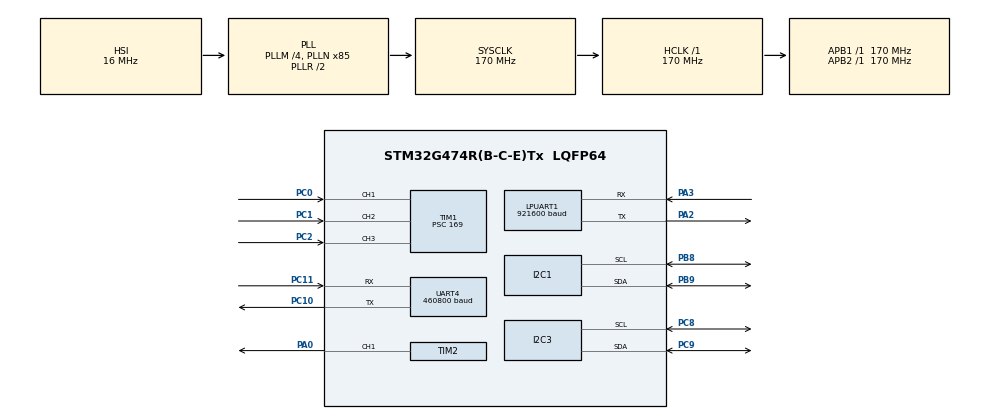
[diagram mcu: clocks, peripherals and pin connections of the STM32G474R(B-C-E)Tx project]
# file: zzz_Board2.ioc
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Dma.Request0=TIM1_CH1
Dma.Request1=TIM1_CH2
Dma.Request2=TIM1_CH3
Dma.Request3=UART4_TX
Dma.Request4=UART4_RX
Dma.TIM1_CH1.0.Direction=DMA_PERIPH_TO_MEMORY
Dma.TIM1_CH1.0.EventEnable=DISABLE
Dma.TIM1_CH1.0.Instance=DMA1_Channel1
Dma.TIM1_CH1.0.MemDataAlignment=DMA_MDATAALIGN_HALFWORD
Dma.TIM1_CH1.0.MemInc=DMA_MINC_ENABLE
Dma.TIM1_CH1.0.Mode=DMA_CIRCULAR
Dma.TIM1_CH1.0.PeriphDataAlignment=DMA_PDATAALIGN_HALFWORD
Dma.TIM1_CH1.0.PeriphInc=DMA_PINC_DISABLE
Dma.TIM1_CH1.0.Polarity=HAL_DMAMUX_REQ_GEN_RISING
Dma.TIM1_CH1.0.Priority=DMA_PRIORITY_LOW
Dma.TIM1_CH1.0.RequestNumber=1
Dma.TIM1_CH1.0.SignalID=NONE
Dma.TIM1_CH1.0.SyncEnable=DISABLE
Dma.TIM1_CH1.0.SyncPolarity=HAL_DMAMUX_SYNC_NO_EVENT
Dma.TIM1_CH1.0.SyncRequestNumber=1
Dma.TIM1_CH1.0.SyncSignalID=NONE
Dma.TIM1_CH2.1.Direction=DMA_PERIPH_TO_MEMORY
Dma.TIM1_CH2.1.EventEnable=DISABLE
Dma.TIM1_CH2.1.Instance=DMA1_Channel2
Dma.TIM1_CH2.1.MemDataAlignment=DMA_MDATAALIGN_HALFWORD
Dma.TIM1_CH2.1.MemInc=DMA_MINC_ENABLE
Dma.TIM1_CH2.1.Mode=DMA_CIRCULAR
Dma.TIM1_CH2.1.PeriphDataAlignment=DMA_PDATAALIGN_HALFWORD
Dma.TIM1_CH2.1.PeriphInc=DMA_PINC_DISABLE
Dma.TIM1_CH2.1.Polarity=HAL_DMAMUX_REQ_GEN_RISING
Dma.TIM1_CH2.1.Priority=DMA_PRIORITY_LOW
Dma.TIM1_CH2.1.RequestNumber=1
Dma.TIM1_CH2.1.SignalID=NONE
Dma.TIM1_CH2.1.SyncEnable=DISABLE
Dma.TIM1_CH2.1.SyncPolarity=HAL_DMAMUX_SYNC_NO_EVENT
Dma.TIM1_CH2.1.SyncRequestNumber=1
Dma.TIM1_CH2.1.SyncSignalID=NONE
Dma.TIM1_CH3.2.Direction=DMA_PERIPH_TO_MEMORY
Dma.TIM1_CH3.2.EventEnable=DISABLE
Dma.TIM1_CH3.2.Instance=DMA1_Channel3
Dma.TIM1_CH3.2.MemDataAlignment=DMA_MDATAALIGN_HALFWORD
Dma.TIM1_CH3.2.MemInc=DMA_MINC_ENABLE
Dma.TIM1_CH3.2.Mode=DMA_CIRCULAR
Dma.TIM1_CH3.2.PeriphDataAlignment=DMA_PDATAALIGN_HALFWORD
Dma.TIM1_CH3.2.PeriphInc=DMA_PINC_DISABLE
Dma.TIM1_CH3.2.Polarity=HAL_DMAMUX_REQ_GEN_RISING
Dma.TIM1_CH3.2.Priority=DMA_PRIORITY_LOW
Dma.TIM1_CH3.2.RequestNumber=1
Dma.TIM1_CH3.2.SignalID=NONE
Dma.TIM1_CH3.2.SyncEnable=DISABLE
Dma.TIM1_CH3.2.SyncPolarity=HAL_DMAMUX_SYNC_NO_EVENT
Dma.TIM1_CH3.2.SyncRequestNumber=1
Dma.TIM1_CH3.2.SyncSignalID=NONE
Dma.UART4_RX.4.Direction=DMA_PERIPH_TO_MEMORY
Dma.UART4_RX.4.EventEnable=DISABLE
Dma.UART4_RX.4.Instance=DMA1_Channel5
Dma.UART4_RX.4.MemDataAlignment=DMA_MDATAALIGN_BYTE
Dma.UART4_RX.4.MemInc=DMA_MINC_ENABLE
Dma.UART4_RX.4.Mode=DMA_CIRCULAR
Dma.UART4_RX.4.PeriphDataAlignment=DMA_PDATAALIGN_BYTE
Dma.UART4_RX.4.PeriphInc=DMA_PINC_DISABLE
Dma.UART4_RX.4.Polarity=HAL_DMAMUX_REQ_GEN_RISING
Dma.UART4_RX.4.Priority=DMA_PRIORITY_LOW
Dma.UART4_RX.4.RequestNumber=1
Dma.UART4_RX.4.SignalID=NONE
Dma.UART4_RX.4.SyncEnable=DISABLE
Dma.UART4_RX.4.SyncPolarity=HAL_DMAMUX_SYNC_NO_EVENT
Dma.UART4_RX.4.SyncRequestNumber=1
Dma.UART4_RX.4.SyncSignalID=NONE
Dma.UART4_TX.3.Direction=DMA_MEMORY_TO_PERIPH
Dma.UART4_TX.3.EventEnable=DISABLE
Dma.UART4_TX.3.Instance=DMA1_Channel4
Dma.UART4_TX.3.MemDataAlignment=DMA_MDATAALIGN_BYTE
Dma.UART4_TX.3.MemInc=DMA_MINC_ENABLE
Dma.UART4_TX.3.Mode=DMA_NORMAL
Dma.UART4_TX.3.PeriphDataAlignment=DMA_PDATAALIGN_BYTE
Dma.UART4_TX.3.PeriphInc=DMA_PINC_DISABLE
Dma.UART4_TX.3.Polarity=HAL_DMAMUX_REQ_GEN_RISING
Dma.UART4_TX.3.Priority=DMA_PRIORITY_LOW
Dma.UART4_TX.3.RequestNumber=1
Dma.UART4_TX.3.SignalID=NONE
Dma.UART4_TX.3.SyncEnable=DISABLE
Dma.UART4_TX.3.SyncPolarity=HAL_DMAMUX_SYNC_NO_EVENT
Dma.UART4_TX.3.SyncRequestNumber=1
Dma.UART4_TX.3.SyncSignalID=NONE
FREERTOS.Mutexes01=mutex_Ble,Static,mutex_BleControlBlock,Available;mutex_Imu,Static,mutex_ImuControlBlock,Available;mutex_UartRx,Static,mutex_UartRxControlBlock,Available;mutex_Sonar,Static,mutex_SonarControlBlock,Available;mutex_Supervisor,Static,mutex_SupervisorControlBlock,Available
FREERTOS.Tasks01=defaultTask,24,128,StartDefaultTask,Default,NULL,Static,defaultTaskBuffer,defaultTaskControlBlock;Task_ReadBLE,24,256,StartTask_ReadBLE,Default,NULL,Static,Task_ReadBLEBuffer,Task_ReadBLEControlBlock;Task_ReadIMU,8,128,StartTask_ReadIMU,Default,NULL,Static,Task_ReadIMUBuffer,Task_ReadIMUControlBlock;Task_ReadSonars,32,256,StartTask_ReadSonars,Default,NULL,Static,Task_ReadSonarsBuffer,Task_ReadSonarsControlBlock;Task_Rx,24,256,StartTask_Rx,Default,NULL,Static,Task_RxBuffer,Task_RxControlBlock;Task_Tx,32,256,StartTask_Tx,Default,NULL,Static,Task_TxBuffer,Task_TxControlBlock;Task_Supervisor,32,512,StartTask_Supervisor,Default,NULL,Static,Task_SupervisorBuffer,Task_SupervisorControlBlock;Task_Log,8,512,StartTask_Log,Default,NULL,Static,Task_LogBuffer,Task_LogControlBlock
FREERTOS.configCHECK_FOR_STACK_OVERFLOW=2
FREERTOS.configTOTAL_HEAP_SIZE=1500
FREERTOS.configUSE_NEWLIB_REENTRANT=1
I2C1.CustomTiming=Enabled
I2C1.Speed=100
I2C1.Timing=0x40B285C2
I2C3.Timing=0x40B285C2
LPUART1.BaudRate=921600
Mcu.Family=STM32G4
Mcu.Name=STM32G474R(B-C-E)Tx
Mcu.Package=LQFP64
NVIC.DMA1_Channel1_IRQn=true\:5\:0\:false\:false\:true\:true\:false\:true\:true
NVIC.DMA1_Channel2_IRQn=true\:5\:0\:false\:false\:true\:true\:false\:true\:true
NVIC.DMA1_Channel3_IRQn=true\:5\:0\:false\:false\:true\:true\:false\:true\:true
NVIC.DMA1_Channel4_IRQn=true\:5\:0\:false\:false\:true\:true\:false\:true\:true
NVIC.DMA1_Channel5_IRQn=true\:5\:0\:false\:false\:true\:true\:false\:true\:true
NVIC.PriorityGroup=NVIC_PRIORITYGROUP_4
NVIC.TIM6_DAC_IRQn=true\:15\:0\:false\:false\:true\:false\:false\:true\:true
NVIC.TimeBase=TIM6_DAC_IRQn
NVIC.TimeBaseIP=TIM6
NVIC.UART4_IRQn=true\:5\:0\:false\:false\:true\:true\:true\:true\:true
PA0.Signal=S_TIM2_CH1
PA2.Mode=Asynchronous
PA2.Signal=LPUART1_TX
PA3.Mode=Asynchronous
PA3.Signal=LPUART1_RX
PB8-BOOT0.GPIO_Pu=GPIO_PULLUP
PB8-BOOT0.Mode=I2C
PB8-BOOT0.Signal=I2C1_SCL
PB9.GPIO_Pu=GPIO_PULLUP
PB9.Mode=I2C
PB9.Signal=I2C1_SDA
PC0.Signal=S_TIM1_CH1
PC1.Signal=S_TIM1_CH2
PC10.Mode=Asynchronous
PC10.Signal=UART4_TX
PC11.Mode=Asynchronous
PC11.Signal=UART4_RX
PC2.Signal=S_TIM1_CH3
PC8.GPIO_Pu=GPIO_PULLUP
PC8.Mode=I2C
PC8.Signal=I2C3_SCL
PC9.GPIO_Pu=GPIO_PULLUP
PC9.Mode=I2C
PC9.Signal=I2C3_SDA
ProjectManager.HeapSize=0x200
ProjectManager.StackSize=0x400
ProjectManager.TargetToolchain=STM32CubeIDE
RCC.ADC12Freq_Value=170000000
RCC.ADC345Freq_Value=170000000
RCC.AHBFreq_Value=170000000
RCC.APB1Freq_Value=170000000
RCC.APB1TimFreq_Value=170000000
RCC.APB2Freq_Value=170000000
RCC.APB2TimFreq_Value=170000000
RCC.CortexFreq_Value=170000000
RCC.EXTERNAL_CLOCK_VALUE=12288000
RCC.HCLKFreq_Value=170000000
RCC.HSE_VALUE=8000000
RCC.HSI48_VALUE=48000000
RCC.HSI_VALUE=16000000
RCC.LSE_VALUE=32768
RCC.PLLM=RCC_PLLM_DIV4
RCC.PLLN=85
RCC.SYSCLKFreq_VALUE=170000000
RCC.SYSCLKSource=RCC_SYSCLKSOURCE_PLLCLK
RCC.USBFreq_Value=170000000
RCC.VCOOutputFreq_Value=340000000
SH.S_TIM1_CH1.0=TIM1_CH1,Input_Capture1_from_TI1
SH.S_TIM1_CH2.0=TIM1_CH2,Input_Capture2_from_TI2
SH.S_TIM1_CH3.0=TIM1_CH3,Input_Capture3_from_TI3
SH.S_TIM2_CH1.0=TIM2_CH1,PWM Generation1 CH1
TIM1.Channel-Input_Capture1_from_TI1=TIM_CHANNEL_1
TIM1.Channel-Input_Capture2_from_TI2=TIM_CHANNEL_2
TIM1.Channel-Input_Capture3_from_TI3=TIM_CHANNEL_3
TIM1.ICFilter_CH1=10
TIM1.ICFilter_CH2=10
TIM1.ICFilter_CH3=10
TIM1.ICPolarity_CH1=TIM_INPUTCHANNELPOLARITY_BOTHEDGE
TIM1.ICPolarity_CH2=TIM_INPUTCHANNELPOLARITY_BOTHEDGE
TIM1.ICPolarity_CH3=TIM_INPUTCHANNELPOLARITY_BOTHEDGE
TIM1.Prescaler=169
TIM2.Channel-PWM\ Generation1\ CH1=TIM_CHANNEL_1
TIM2.OCPolarity_1=TIM_OCPOLARITY_LOW
TIM2.PeriodNoDither=19
TIM2.Prescaler=169
TIM2.PulseNoDither_1=10
UART4.BaudRate=460800
VP_FREERTOS_VS_CMSIS_V2.Mode=CMSIS_V2
VP_SYS_VS_DBSignals.Mode=DisableDeadBatterySignals
VP_SYS_VS_tim6.Mode=TIM6
VP_TIM2_VS_OPM.Mode=OPM_bit
board=custom

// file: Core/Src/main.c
/* USER CODE BEGIN Header */
/**
  ******************************************************************************
  * @file           : main.c
  * @brief          : Main program body
  ******************************************************************************
  * @attention
  *
  * Copyright (c) 2026 STMicroelectronics.
  * All rights reserved.
  *
  * This software is licensed under terms that can be found in the LICENSE file
  * in the root directory of this software component.
  * If no LICENSE file comes with this software, it is provided AS-IS.
  *
  ******************************************************************************
  */
/* USER CODE END Header */
#include "main.h"
#include "cmsis_os.h"
#include "dma.h"
#include "i2c.h"
#include "usart.h"
#include "tim.h"
#include "gpio.h"

/* USER CODE BEGIN Includes */
#include "comm/comm_uart.h"
/* USER CODE END Includes */

void SystemClock_Config(void);
void MX_FREERTOS_Init(void);
/* USER CODE BEGIN PFP */
#include "core_cm4.h"
  void DWT_Init(void)
  {
      CoreDebug->DEMCR |= CoreDebug_DEMCR_TRCENA_Msk;
      DWT->CYCCNT = 0;
      DWT->CTRL |= DWT_CTRL_CYCCNTENA_Msk;
  }
/* USER CODE END PFP */

int main(void)
{

  /* MCU Configuration--------------------------------------------------------*/

  /* Reset of all peripherals, Initializes the Flash interface and the Systick. */
  HAL_Init();

  /* Configure the system clock */
  SystemClock_Config();

  /* Initialize all configured peripherals */
  MX_GPIO_Init();
  MX_DMA_Init();
  MX_TIM1_Init();
  MX_TIM2_Init();
  MX_I2C1_Init();
  MX_LPUART1_UART_Init();
  MX_UART4_Init();
  MX_I2C3_Init();
  /* USER CODE BEGIN 2 */
  DWT_Init();
  CommUart_EarlyInit();  // aggiunto

  /* USER CODE END 2 */

  /* Init scheduler */
  osKernelInitialize();  /* Call init function for freertos objects (in cmsis_os2.c) */
  MX_FREERTOS_Init();

  /* Start scheduler */
  osKernelStart();

  /* We should never get here as control is now taken by the scheduler */

  /* Infinite loop */
  while (1)
  {

  }
}

void SystemClock_Config(void)
{
  RCC_OscInitTypeDef RCC_OscInitStruct = {0};
  RCC_ClkInitTypeDef RCC_ClkInitStruct = {0};

  /** Configure the main internal regulator output voltage
  */
  HAL_PWREx_ControlVoltageScaling(PWR_REGULATOR_VOLTAGE_SCALE1_BOOST);

  /** Initializes the RCC Oscillators according to the specified parameters
  * in the RCC_OscInitTypeDef structure.
  */
  RCC_OscInitStruct.OscillatorType = RCC_OSCILLATORTYPE_HSI;
  RCC_OscInitStruct.HSIState = RCC_HSI_ON;
  RCC_OscInitStruct.HSICalibrationValue = RCC_HSICALIBRATION_DEFAULT;
  RCC_OscInitStruct.PLL.PLLState = RCC_PLL_ON;
  RCC_OscInitStruct.PLL.PLLSource = RCC_PLLSOURCE_HSI;
  RCC_OscInitStruct.PLL.PLLM = RCC_PLLM_DIV4;
  RCC_OscInitStruct.PLL.PLLN = 85;
  RCC_OscInitStruct.PLL.PLLP = RCC_PLLP_DIV2;
  RCC_OscInitStruct.PLL.PLLQ = RCC_PLLQ_DIV2;
  RCC_OscInitStruct.PLL.PLLR = RCC_PLLR_DIV2;
  if (HAL_RCC_OscConfig(&RCC_OscInitStruct) != HAL_OK)
  {
    Error_Handler();
  }

  /** Initializes the CPU, AHB and APB buses clocks
  */
  RCC_ClkInitStruct.ClockType = RCC_CLOCKTYPE_HCLK|RCC_CLOCKTYPE_SYSCLK
                              |RCC_CLOCKTYPE_PCLK1|RCC_CLOCKTYPE_PCLK2;
  RCC_ClkInitStruct.SYSCLKSource = RCC_SYSCLKSOURCE_PLLCLK;
  RCC_ClkInitStruct.AHBCLKDivider = RCC_SYSCLK_DIV1;
  RCC_ClkInitStruct.APB1CLKDivider = RCC_HCLK_DIV1;
  RCC_ClkInitStruct.APB2CLKDivider = RCC_HCLK_DIV1;

  if (HAL_RCC_ClockConfig(&RCC_ClkInitStruct, FLASH_LATENCY_4) != HAL_OK)
  {
    Error_Handler();
  }
}

void HAL_TIM_PeriodElapsedCallback(TIM_HandleTypeDef *htim)
{
  if (htim->Instance == TIM6)
  {
    HAL_IncTick();
  }
}

void Error_Handler(void)
{
  __disable_irq();
  while (1)
  {
  }
}

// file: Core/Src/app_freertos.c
/* USER CODE BEGIN Header */
/**
  ******************************************************************************
  * File Name          : app_freertos.c
  * Description        : Code for freertos applications
  ******************************************************************************
  * @attention
  *
  * Copyright (c) 2026 STMicroelectronics.
  * All rights reserved.
  *
  * This software is licensed under terms that can be found in the LICENSE file
  * in the root directory of this software component.
  * If no LICENSE file comes with this software, it is provided AS-IS.
  *
  ******************************************************************************
  */
/* USER CODE END Header */

#include "FreeRTOS.h"
#include "task.h"
#include "main.h"
#include "cmsis_os.h"

/* USER CODE BEGIN Includes */
#include "BLE_Controller/ble_controller_task.h"
#include "comm/comm_rx_task.h"
#include "comm/comm_tx_task.h"
#include "IMU/imu_task.h"
#include "sonar/sonar_task.h"
#include "log/log_task.h"
#include "supervisor/supervisor_task.h"
#include "log/wcet_monitor.h"
#include "snapshot/snapshot.h"
#include <stdio.h>
/* USER CODE END Includes */

typedef StaticTask_t osStaticThreadDef_t;
typedef StaticSemaphore_t osStaticMutexDef_t;

/* USER CODE BEGIN Variables */
UBaseType_t free_words_tx = 0;
UBaseType_t free_words_rx = 0;
UBaseType_t free_words_sonar = 0;
UBaseType_t free_words_ble = 0;
UBaseType_t free_words_imu = 0;

volatile uint32_t wcet_tx_cycles_max = 0;
volatile uint32_t wcet_rx_cycles_max = 0;
volatile uint32_t wcet_sonar_cycles_max = 0;
volatile uint32_t wcet_ble_cycles_max = 0;
volatile uint32_t wcet_imu_cycles_max = 0;

volatile uint32_t cycles_tx = 0;
volatile uint32_t cycles_rx = 0;
volatile uint32_t cycles_sonar = 0;
volatile uint32_t cycles_ble = 0;
volatile uint32_t cycles_imu = 0;
/* USER CODE END Variables */
/* Definitions for defaultTask */
osThreadId_t defaultTaskHandle;
uint32_t defaultTaskBuffer[ 128 ];
osStaticThreadDef_t defaultTaskControlBlock;
const osThreadAttr_t defaultTask_attributes = {
  .name = "defaultTask",
  .stack_mem = &defaultTaskBuffer[0],
  .stack_size = sizeof(defaultTaskBuffer),
  .cb_mem = &defaultTaskControlBlock,
  .cb_size = sizeof(defaultTaskControlBlock),
  .priority = (osPriority_t) osPriorityNormal,
};
/* Definitions for Task_ReadBLE */
osThreadId_t Task_ReadBLEHandle;
uint32_t Task_ReadBLEBuffer[ 256 ];
osStaticThreadDef_t Task_ReadBLEControlBlock;
const osThreadAttr_t Task_ReadBLE_attributes = {
  .name = "Task_ReadBLE",
  .stack_mem = &Task_ReadBLEBuffer[0],
  .stack_size = sizeof(Task_ReadBLEBuffer),
  .cb_mem = &Task_ReadBLEControlBlock,
  .cb_size = sizeof(Task_ReadBLEControlBlock),
  .priority = (osPriority_t) osPriorityNormal,
};
/* Definitions for Task_ReadIMU */
osThreadId_t Task_ReadIMUHandle;
uint32_t Task_ReadIMUBuffer[ 128 ];
osStaticThreadDef_t Task_ReadIMUControlBlock;
const osThreadAttr_t Task_ReadIMU_attributes = {
  .name = "Task_ReadIMU",
  .stack_mem = &Task_ReadIMUBuffer[0],
  .stack_size = sizeof(Task_ReadIMUBuffer),
  .cb_mem = &Task_ReadIMUControlBlock,
  .cb_size = sizeof(Task_ReadIMUControlBlock),
  .priority = (osPriority_t) osPriorityLow,
};
/* Definitions for Task_ReadSonars */
osThreadId_t Task_ReadSonarsHandle;
uint32_t Task_ReadSonarsBuffer[ 256 ];
osStaticThreadDef_t Task_ReadSonarsControlBlock;
const osThreadAttr_t Task_ReadSonars_attributes = {
  .name = "Task_ReadSonars",
  .stack_mem = &Task_ReadSonarsBuffer[0],
  .stack_size = sizeof(Task_ReadSonarsBuffer),
  .cb_mem = &Task_ReadSonarsControlBlock,
  .cb_size = sizeof(Task_ReadSonarsControlBlock),
  .priority = (osPriority_t) osPriorityAboveNormal,
};
/* Definitions for Task_Rx */
osThreadId_t Task_RxHandle;
uint32_t Task_RxBuffer[ 256 ];
osStaticThreadDef_t Task_RxControlBlock;
const osThreadAttr_t Task_Rx_attributes = {
  .name = "Task_Rx",
  .stack_mem = &Task_RxBuffer[0],
  .stack_size = sizeof(Task_RxBuffer),
  .cb_mem = &Task_RxControlBlock,
  .cb_size = sizeof(Task_RxControlBlock),
  .priority = (osPriority_t) osPriorityNormal,
};
/* Definitions for Task_Tx */
osThreadId_t Task_TxHandle;
uint32_t Task_TxBuffer[ 256 ];
osStaticThreadDef_t Task_TxControlBlock;
const osThreadAttr_t Task_Tx_attributes = {
  .name = "Task_Tx",
  .stack_mem = &Task_TxBuffer[0],
  .stack_size = sizeof(Task_TxBuffer),
  .cb_mem = &Task_TxControlBlock,
  .cb_size = sizeof(Task_TxControlBlock),
  .priority = (osPriority_t) osPriorityAboveNormal,
};
/* Definitions for Task_Supervisor */
osThreadId_t Task_SupervisorHandle;
uint32_t Task_SupervisorBuffer[ 512 ];
osStaticThreadDef_t Task_SupervisorControlBlock;
const osThreadAttr_t Task_Supervisor_attributes = {
  .name = "Task_Supervisor",
  .stack_mem = &Task_SupervisorBuffer[0],
  .stack_size = sizeof(Task_SupervisorBuffer),
  .cb_mem = &Task_SupervisorControlBlock,
  .cb_size = sizeof(Task_SupervisorControlBlock),
  .priority = (osPriority_t) osPriorityAboveNormal,
};
/* Definitions for Task_Log */
osThreadId_t Task_LogHandle;
uint32_t Task_LogBuffer[ 512 ];
osStaticThreadDef_t Task_LogControlBlock;
const osThreadAttr_t Task_Log_attributes = {
  .name = "Task_Log",
  .stack_mem = &Task_LogBuffer[0],
  .stack_size = sizeof(Task_LogBuffer),
  .cb_mem = &Task_LogControlBlock,
  .cb_size = sizeof(Task_LogControlBlock),
  .priority = (osPriority_t) osPriorityLow,
};
/* Definitions for mutex_Ble */
osMutexId_t mutex_BleHandle;
osStaticMutexDef_t mutex_BleControlBlock;
const osMutexAttr_t mutex_Ble_attributes = {
  .name = "mutex_Ble",
  .cb_mem = &mutex_BleControlBlock,
  .cb_size = sizeof(mutex_BleControlBlock),
};
/* Definitions for mutex_Imu */
osMutexId_t mutex_ImuHandle;
osStaticMutexDef_t mutex_ImuControlBlock;
const osMutexAttr_t mutex_Imu_attributes = {
  .name = "mutex_Imu",
  .cb_mem = &mutex_ImuControlBlock,
  .cb_size = sizeof(mutex_ImuControlBlock),
};
/* Definitions for mutex_UartRx */
osMutexId_t mutex_UartRxHandle;
osStaticMutexDef_t mutex_UartRxControlBlock;
const osMutexAttr_t mutex_UartRx_attributes = {
  .name = "mutex_UartRx",
  .cb_mem = &mutex_UartRxControlBlock,
  .cb_size = sizeof(mutex_UartRxControlBlock),
};
/* Definitions for mutex_Sonar */
osMutexId_t mutex_SonarHandle;
osStaticMutexDef_t mutex_SonarControlBlock;
const osMutexAttr_t mutex_Sonar_attributes = {
  .name = "mutex_Sonar",
  .cb_mem = &mutex_SonarControlBlock,
  .cb_size = sizeof(mutex_SonarControlBlock),
};
/* Definitions for mutex_Supervisor */
osMutexId_t mutex_SupervisorHandle;
osStaticMutexDef_t mutex_SupervisorControlBlock;
const osMutexAttr_t mutex_Supervisor_attributes = {
  .name = "mutex_Supervisor",
  .cb_mem = &mutex_SupervisorControlBlock,
  .cb_size = sizeof(mutex_SupervisorControlBlock),
};

void StartDefaultTask(void *argument);
void StartTask_ReadBLE(void *argument);
void StartTask_ReadIMU(void *argument);
void StartTask_ReadSonars(void *argument);
void StartTask_Rx(void *argument);
void StartTask_Tx(void *argument);
void StartTask_Supervisor(void *argument);
void StartTask_Log(void *argument);

void MX_FREERTOS_Init(void); /* (MISRA C 2004 rule 8.1) */

/* Hook prototypes */
void vApplicationStackOverflowHook(xTaskHandle xTask, signed char *pcTaskName);

/* USER CODE BEGIN 4 */
void vApplicationStackOverflowHook(xTaskHandle xTask, signed char *pcTaskName)
{
   /* Run time stack overflow checking is performed if
   configCHECK_FOR_STACK_OVERFLOW is defined to 1 or 2. This hook function is
   called if a stack overflow is detected. */
}
/* USER CODE END 4 */

void MX_FREERTOS_Init(void) {
  /* Create the mutex(es) */
  /* creation of mutex_Ble */
  mutex_BleHandle = osMutexNew(&mutex_Ble_attributes);

  /* creation of mutex_Imu */
  mutex_ImuHandle = osMutexNew(&mutex_Imu_attributes);

  /* creation of mutex_UartRx */
  mutex_UartRxHandle = osMutexNew(&mutex_UartRx_attributes);

  /* creation of mutex_Sonar */
  mutex_SonarHandle = osMutexNew(&mutex_Sonar_attributes);

  /* creation of mutex_Supervisor */
  mutex_SupervisorHandle = osMutexNew(&mutex_Supervisor_attributes);

  /* USER CODE BEGIN RTOS_MUTEX */
	BleControllerSnapshot_MutexInit(mutex_BleHandle);
	IMUSnapshot_MutexInit(mutex_ImuHandle);
	RxSnapshot_MutexInit(mutex_UartRxHandle);
	SonarSnapshot_MutexInit(mutex_SonarHandle);
	SupervisorSnapshot_MutexInit(mutex_SupervisorHandle);
  /* USER CODE END RTOS_MUTEX */

  /* Create the thread(s) */
  /* creation of defaultTask */
  defaultTaskHandle = osThreadNew(StartDefaultTask, NULL, &defaultTask_attributes);

  /* creation of Task_ReadBLE */
  Task_ReadBLEHandle = osThreadNew(StartTask_ReadBLE, NULL, &Task_ReadBLE_attributes);

  /* creation of Task_ReadIMU */
  Task_ReadIMUHandle = osThreadNew(StartTask_ReadIMU, NULL, &Task_ReadIMU_attributes);

  /* creation of Task_ReadSonars */
  Task_ReadSonarsHandle = osThreadNew(StartTask_ReadSonars, NULL, &Task_ReadSonars_attributes);

  /* creation of Task_Rx */
  Task_RxHandle = osThreadNew(StartTask_Rx, NULL, &Task_Rx_attributes);

  /* creation of Task_Tx */
  Task_TxHandle = osThreadNew(StartTask_Tx, NULL, &Task_Tx_attributes);

  /* creation of Task_Supervisor */
  Task_SupervisorHandle = osThreadNew(StartTask_Supervisor, NULL, &Task_Supervisor_attributes);

  /* creation of Task_Log */
  Task_LogHandle = osThreadNew(StartTask_Log, NULL, &Task_Log_attributes);

}

void StartDefaultTask(void *argument)
{
  /* USER CODE BEGIN StartDefaultTask */
  /* Infinite loop */
  for(;;)
  {
    osDelay(10000);
  }
  /* USER CODE END StartDefaultTask */
}

void StartTask_ReadBLE(void *argument)
{
  /* USER CODE BEGIN StartTask_ReadBLE */
    TickType_t lastWakeTime = xTaskGetTickCount();

    //BleController_TaskInit();

    for (;;)
    {

    	uint32_t s = DWT->CYCCNT;

        BleController_TaskStep();

        WCET_Update(WCET_TASK_BLE, DWT->CYCCNT - s);

	    free_words_ble = uxTaskGetStackHighWaterMark(NULL);

        lastWakeTime += 20;
        osDelayUntil(lastWakeTime);
    }
  /* USER CODE END StartTask_ReadBLE */
}

void StartTask_ReadIMU(void *argument)
{
  /* USER CODE BEGIN StartTask_ReadIMU */
    TickType_t lastWakeTime = xTaskGetTickCount();

    IMU_TaskInit();

    for (;;)
    {

    	uint32_t s = DWT->CYCCNT;

	    IMU_TaskStep();

	    WCET_Update(WCET_TASK_IMU, DWT->CYCCNT - s);

	    free_words_imu = uxTaskGetStackHighWaterMark(NULL);

        lastWakeTime += 20;
        osDelayUntil(lastWakeTime);
    }
  /* USER CODE END StartTask_ReadIMU */
}

void StartTask_ReadSonars(void *argument)
{
  /* USER CODE BEGIN StartTask_ReadSonars */
    TickType_t lastWakeTime = xTaskGetTickCount();
    Sonar_TaskInit();
    //Sonar_TaskInit();

    for (;;)
    {

        Sonar_TaskStep();

	    free_words_sonar = uxTaskGetStackHighWaterMark(NULL);

        lastWakeTime += 60;
        osDelayUntil(lastWakeTime);
    }
  /* USER CODE END StartTask_ReadSonars */
}

void StartTask_Rx(void *argument)
{
  /* USER CODE BEGIN StartTask_Rx */
	Rx_TaskInit();

  /* Infinite loop */
  for(;;)
  {

  	Rx_TaskStep();

  }
  /* USER CODE END StartTask_Rx */
}

void StartTask_Tx(void *argument)
{
  /* USER CODE BEGIN StartTask_Tx */
    TickType_t lastWakeTime = xTaskGetTickCount();

    for (;;)
    {

    	uint32_t s = DWT->CYCCNT;

        Tx_TaskStep();

        WCET_Update(WCET_TASK_TX, DWT->CYCCNT - s);
	    free_words_tx = uxTaskGetStackHighWaterMark(NULL);

        lastWakeTime += 20;
        osDelayUntil(lastWakeTime);
    }
  /* USER CODE END StartTask_Tx */
}

void StartTask_Supervisor(void *argument)
{
  /* USER CODE BEGIN StartTask_Supervisor */
	Supervisor_TaskInit();
	TickType_t lastWakeTime = osKernelGetTickCount();
	int i = 0;
  /* Infinite loop */
  for(;;)
  {
	  uint32_t s = DWT->CYCCNT;

	  Supervisor_TaskStep();
	  WCET_Update(WCET_TASK_SUPERVISOR, DWT->CYCCNT - s);

	  lastWakeTime += 20;
	  osDelayUntil(lastWakeTime);
  }
  /* USER CODE END StartTask_Supervisor */
}

void StartTask_Log(void *argument)
{
  /* USER CODE BEGIN StartTask_Log */
  /* Infinite loop */
    TickType_t lastWakeTime = xTaskGetTickCount();

    for (;;)
    {
    	Log_TaskStep();
    	WCET_Print();

    	/*
    	printf("Heap free : %lu\r\n",
    	       (unsigned long)xPortGetFreeHeapSize());

    	printf("Heap min  : %lu\r\n",
    	       (unsigned long)xPortGetMinimumEverFreeHeapSize());

    	HeapStats_t stats;
    	vPortGetHeapStats(&stats);

    	printf("Heap avail: %lu\r\n",
    	       (unsigned long)stats.xAvailableHeapSpaceInBytes);

    	printf("Heap min  : %lu\r\n",
    	       (unsigned long)stats.xMinimumEverFreeBytesRemaining);

    	printf("Malloc ok : %lu\r\n",
    	       (unsigned long)stats.xNumberOfSuccessfulAllocations);

    	printf("Free ok   : %lu\r\n",
    	       (unsigned long)stats.xNumberOfSuccessfulFrees);
    	*/
        lastWakeTime += 1000;
        osDelayUntil(lastWakeTime);
    }
  /* USER CODE END StartTask_Log */
}
